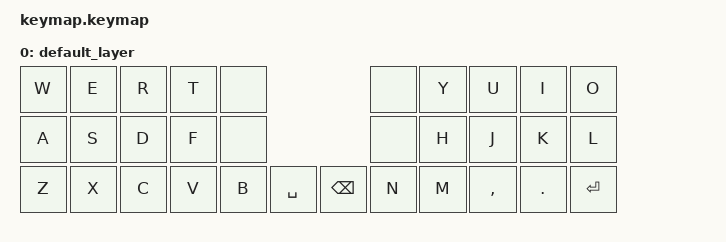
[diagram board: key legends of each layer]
/ {
    keymap {
        compatible = "zmk,keymap";

        default_layer {
            bindings = <
                &kp W   &kp E   &kp R   &kp T   &none                           &none   &kp Y   &kp U       &kp I   &kp O
                &kp A   &kp S   &kp D   &kp F   &none                           &none   &kp H   &kp J       &kp K   &kp L
                &kp Z   &kp X   &kp C   &kp V   &kp B   &kp SPC     &kp BSPC    &kp N   &kp M   &kp COMMA   &kp DOT &kp ENTER 
            >;
        };
    };
};
